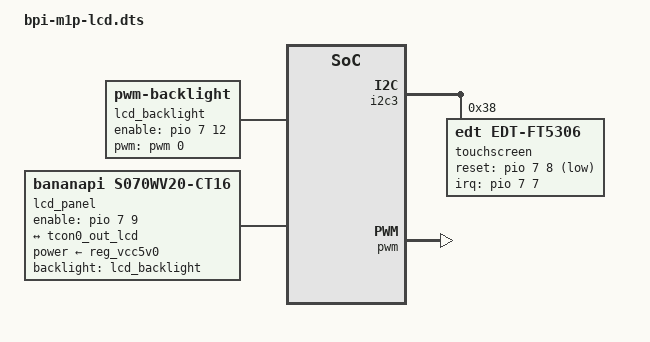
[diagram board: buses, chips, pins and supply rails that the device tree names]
// SPDX-License-Identifier: (GPL-2.0+ OR MIT)
//
// Copyright (C) 2017 Chen-Yu Tsai <wens@csie.org>
//
// Bananapi 800x480 7" RGB LCD panel attached on LCD FPC connector.

#ifdef __DTO_TEST__
#include <arm/sun7i-a20-bananapi-m1-plus.dts>
#else
/dts-v1/;
/plugin/;
#endif

#include <dt-bindings/gpio/gpio.h>
#include <dt-bindings/interrupt-controller/irq.h>
#include <dt-bindings/pwm/pwm.h>

&{/} {
	lcd_backlight: lcd-backlight {
		compatible = "pwm-backlight";
		pwms = <&pwm 0 20000 PWM_POLARITY_INVERTED>; /* 50 kHz */
		enable-gpios = <&pio 7 12 GPIO_ACTIVE_HIGH>; /* PH12 */
		brightness-levels = <0 10 20 30 40 50 60 70 80 90 100>;
		default-brightness-level = <8>;
	};

	lcd_panel: lcd-panel {
		compatible = "bananapi,s070wv20-ct16", "simple-panel";
		power-supply = <&reg_vcc5v0>; /* Actually driven from IPSOUT */
		/* This doesn't do anything for this particular connector */
		enable-gpios = <&pio 7 9 GPIO_ACTIVE_HIGH>; /* PH9 */
		backlight = <&lcd_backlight>;

		port {
			lcd_panel_input: endpoint {
				remote-endpoint = <&tcon0_out_lcd>;
			};
		};
	};
};


&i2c3 {
	status = "okay";

	touchscreen@38 {
		compatible = "edt,edt-ft5306", "edt,edt-ft5x06";
		reg = <0x38>;
		interrupt-parent = <&pio>;
		interrupts = <7 7 IRQ_TYPE_EDGE_FALLING>; /* PH7 */
		reset-gpios = <&pio 7 8 GPIO_ACTIVE_LOW>; /* PH8 */
	};
};

&pio {
	lcd0_rgb888_pins: lcd0-rgb888-pins {
		pins = "PD0", "PD1", "PD2", "PD3", "PD4", "PD5", "PD6", "PD7",
		       "PD8", "PD9", "PD10", "PD11", "PD12", "PD13", "PD14",
		       "PD15", "PD16", "PD17", "PD18", "PD19", "PD20", "PD21",
		       "PD22", "PD23", "PD24", "PD25", "PD26", "PD27";
		function = "lcd0";
	};
};

&pwm {
	pinctrl-names = "default";
	pinctrl-0 = <&pwm0_pin>;
	status = "okay";
};

&tcon0 {
	pinctrl-names = "default";
	pinctrl-0 = <&lcd0_rgb888_pins>;
};

&tcon0_out {
	tcon0_out_lcd: endpoint@0 {
		reg = <0>;
		remote-endpoint = <&lcd_panel_input>;
	};
};
